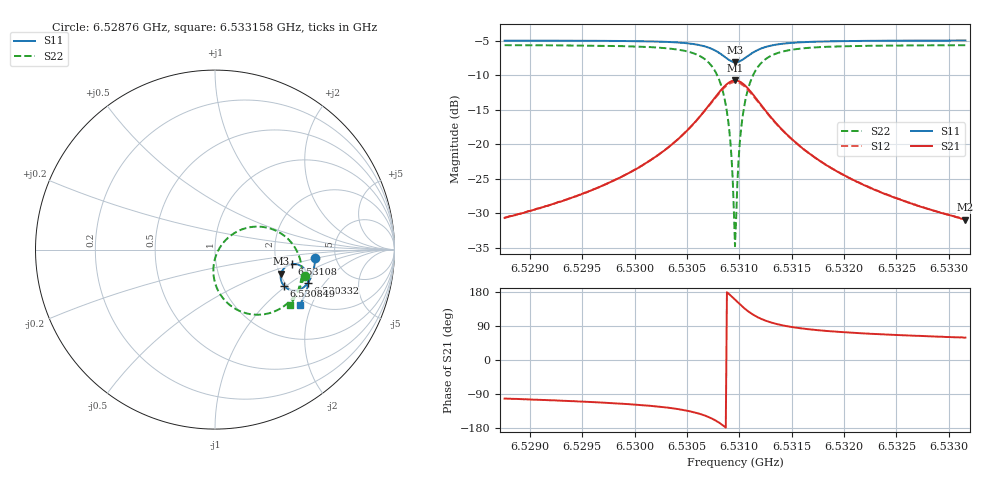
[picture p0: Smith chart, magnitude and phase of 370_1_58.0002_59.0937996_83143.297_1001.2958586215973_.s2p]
#  HZ  S  RI  R  50.00
! Rohde & Schwarz Vector Network Analyzer
! Rohde-Schwarz,ZNB20-2Port,1311601062101988,3.16
! Created: UTC 3/21/2024, 1:06:52 AM
! freq[Hz]  re:S11  im:S11  re:S21  im:S21  re:S12  im:S12  re:S22  im:S22
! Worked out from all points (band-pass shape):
!   401 points, 6.52876 GHz to 6.533158 GHz, reference 50 ohm
!   highest |S21| = -10.77 dB at 6.530959 GHz (marker M1); lowest = -30.9 dB at 6.533158 GHz (marker M2)
!   |S21| within 3 dB of the highest: 6.530741 GHz to 6.53118 GHz (439.4 kHz wide, 0.00673 % of centre)
!   lowest |S11| = -8.1 dB at 6.530959 GHz (marker M3), VSWR 2.29, Z = 102 - j32 ohm
!   |S11| at or under -10 dB: nowhere
!   |S22| runs from -34.8 to -5.7 dB; largest |S21 - S12| = 0.011
!   S11 on the Smith chart (normalised r, x): 6.52876 GHz: 3.49, -0.46; 6.530332 GHz: 2.59, -1.39; 6.530849 GHz: 1.93, -0.97; 6.53108 GHz: 2.42, -0.48; 6.533158 GHz: 1.82, -1.65
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6.5287603e9  0.5596 -0.0446  -0.00599 -0.0287  -0.00652 -0.0287  0.4996 -0.1478
6.5294968e9  0.5505 -0.1051  -0.0147 -0.0411  -0.0156 -0.0407  0.471 -0.2148
6.5302334e9  0.5237 -0.1761  -0.0462 -0.0706  -0.0481 -0.0695  0.3943 -0.3075
6.5303324e9  0.5159 -0.1876  -0.0569 -0.0774  -0.0591 -0.076  0.3714 -0.3238
6.5306842e9  0.4531 -0.2271  -0.1529 -0.0957  -0.1553 -0.0898  0.1886 -0.3583
6.5307831e9  0.4142 -0.2228  -0.2134 -0.0726  -0.2131 -0.0641  0.0852 -0.3111
6.5308491e9  0.3853 -0.2031  -0.2565 -0.0286  -0.2525 -0.0193  0.0181 -0.2304
6.530882e9  0.3736 -0.1859  -0.2724 0.00548  -0.2661 0.0138  -0.00319 -0.1714
6.530904e9  0.3683 -0.172  -0.2783 0.0315  -0.2706 0.0391  -0.00915 -0.1266
6.530915e9  0.3668 -0.1645  -0.2796 0.0455  -0.2713 0.0525  -0.00892 -0.1032
6.530948e9  0.367 -0.141  -0.2749 0.0887  -0.2654 0.0933  0.00558 -0.0327
6.530959e9  0.3689 -0.1332  -0.2705 0.1028  -0.2607 0.1066  0.0151 -0.0104
6.53097e9  0.3716 -0.1256  -0.2645 0.1165  -0.2549 0.1191  0.0269 0.0111
6.530981e9  0.3749 -0.1183  -0.2574 0.1294  -0.2478 0.1312  0.0407 0.0312
6.531003e9  0.3839 -0.1054  -0.2398 0.1524  -0.2306 0.1527  0.0732 0.0663
6.531025e9  0.395 -0.095  -0.2188 0.171  -0.2105 0.17  0.1104 0.0935
6.5310799e9  0.4266 -0.0811  -0.1616 0.1965  -0.1559 0.1937  0.2096 0.1267
6.5311569e9  0.4653 -0.0843  -0.0933 0.1946  -0.0904 0.1921  0.3245 0.1118
6.5312668e9  0.498 -0.1069  -0.0359 0.1651  -0.0344 0.1635  0.4182 0.0475
6.5316956e9  0.5196 -0.1829  0.0141 0.0816  0.0151 0.0812  0.4832 -0.1295
6.5324321e9  0.4995 -0.2554  0.0167 0.0391  0.0174 0.0389  0.4554 -0.2451
6.5331577e9  0.4714 -0.3085  0.0145 0.0244  0.0151 0.0241  0.4203 -0.3073
